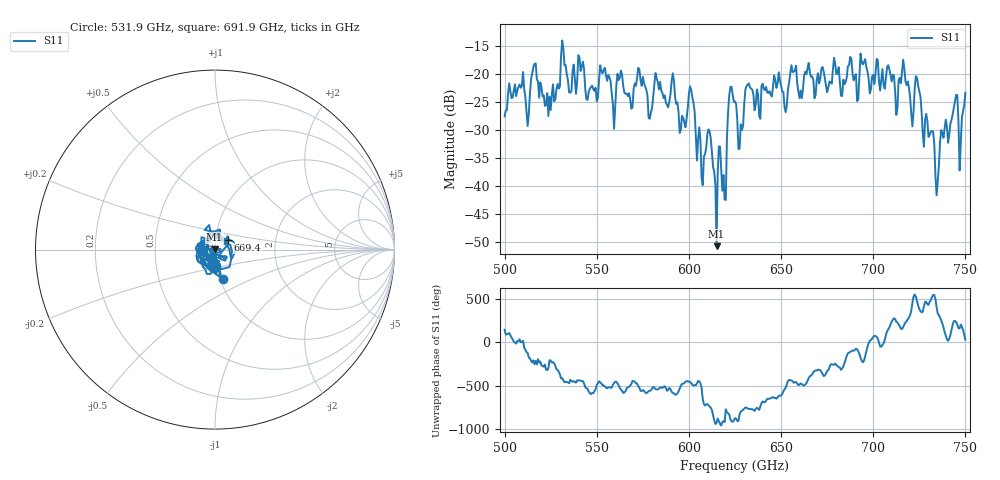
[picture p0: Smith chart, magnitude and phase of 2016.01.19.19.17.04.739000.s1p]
!Created with skrf (http://scikit-rf.org).
# GHz S RI R 50.0
!freq ReS11 ImS11
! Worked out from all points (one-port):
!   401 points, 500 GHz to 750 GHz, reference 50 ohm
!   lowest |S11| = -50.7 dB at 615 GHz (marker M1), VSWR 1.01, Z = 49.7 + j0.13 ohm
!   |S11| at or under -10 dB: start of sweep to end of sweep
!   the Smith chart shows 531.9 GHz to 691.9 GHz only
!   S11 on the Smith chart (normalised r, x): 531.9 GHz: 1.03, -0.35; 669.4 GHz: 1.15, +0.12; 691.9 GHz: 0.97, -0.11
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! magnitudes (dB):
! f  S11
! 500 GHz  -27.5
! 508.8 GHz  -22.4
! 512.5 GHz  -29.2
! 515.6 GHz  -18.6
! 523.8 GHz  -27.4
! 531.2 GHz  -13.9
! 531.9 GHz  -15.4
! 559.4 GHz  -29.7
! 562.5 GHz  -20.6
! 593.8 GHz  -25.0
! 601.2 GHz  -22.8
! 607.5 GHz  -39.8
! 611.2 GHz  -30.2
! 615 GHz  -50.7
! 618.8 GHz  -38.0
! 622.5 GHz  -22.2
! 625 GHz  -24.9
! 628.1 GHz  -28.9
! 631.9 GHz  -21.8
! 651.9 GHz  -25.9
! 656.2 GHz  -19.6
! 669.4 GHz  -20.9
! 687.5 GHz  -16.9
! 691.9 GHz  -24.4
! 718.8 GHz  -21.3
! 724.4 GHz  -22.1
! 734.4 GHz  -41.6
! 750 GHz  -23.3
